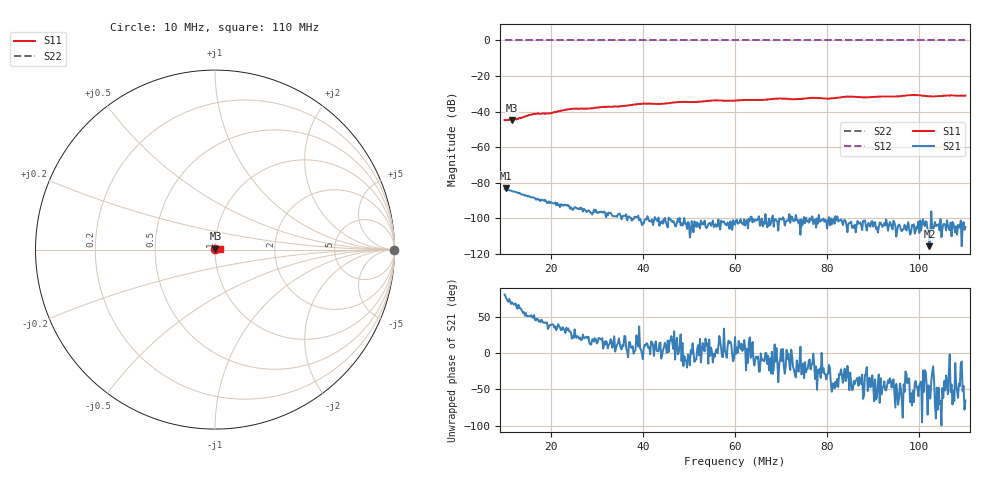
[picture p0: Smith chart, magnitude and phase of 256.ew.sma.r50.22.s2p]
! Anritsu VNA Master:  Model: MS2036C/10/77
! SN:  1601066
! /card0/usr/256.ew.sma.r50.22.s2p
! Existing Calibration Information:
! TYPE:  Current Settings,  Active Cal Settings
! TIME:  12/19/2017 02:48:21 PM,  12/19/2017 02:22:10 PM
! INTERNAL TEMP:  46.3 C,  45.0 C
! # POINTS:  501,  501
! START FREQ:  10.000 MHz,  10.000 MHz
! STOP FREQ:  110.000 MHz,  110.000 MHz
! SOURCE POWER:  High,  High
! IFBW:  100 Hz,  100 Hz
! AVG FACTOR:  1 ,  1
! REF PLANE 1:  0 mm,  0 mm
! REF PLANE 2:  0 mm,  0 mm
! CAL TYPE:  Full S11,  Full S11
! CAL METHOD:  SOLT,  SOLT
! CAL LINE TYPE:  Coax,  Coax
! DUT PORT 1:  N-Conn(F),  N-Conn(F)
! DUT PORT 2:  K-Conn(F),  K-Conn(F)
! CAL STATUS:  OK: Accuracy High,  --
# GHZ S DB R 50.0
! FREQ.GHZ  S11DB  S11A  S21DB  S21A  S12DB  S12A  S22DB  S22A
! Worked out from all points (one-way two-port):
!   501 points, 10 MHz to 110 MHz, reference 50 ohm
!   highest |S21| = -83.11 dB at 10.2 MHz (marker M1); lowest = -115.8 dB at 102.2 MHz (marker M2)
!   lowest |S11| = -44.9 dB at 11.6 MHz (marker M3), VSWR 1.01, Z = 50.3 + j0.512 ohm
!   |S11| at or under -10 dB: start of sweep to end of sweep
!   |S22| runs from 0.0 to 0.0 dB; largest |S21 - S12| = 1
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0.01  -44.83 64.8  -83.63 80.3  0.00 0.0  0.00 0.0
0.0102  -44.86 65.4  -83.11 77.5  0.00 0.0  0.00 0.0
0.0116  -44.87 63.1  -84.90 69.6  0.00 0.0  0.00 0.0
0.0164  -41.29 56.5  -88.42 52.1  0.00 0.0  0.00 0.0
0.0198  -41.08 54.4  -91.56 38.3  0.00 0.0  0.00 0.0
0.0238  -38.77 52.5  -92.72 33.6  0.00 0.0  0.00 0.0
0.0268  -38.34 54.8  -94.88 18.0  0.00 0.0  0.00 0.0
0.035  -37.06 48.4  -97.50 12.5  0.00 0.0  0.00 0.0
0.0398  -35.67 46.7  -103.98 -1.1  0.00 0.0  0.00 0.0
0.0434  -35.64 46.1  -99.63 2.2  0.00 0.0  0.00 0.0
0.0554  -33.78 39.5  -105.06 -1.4  0.00 0.0  0.00 0.0
0.06  -33.86 35.9  -103.71 21.9  0.00 0.0  0.00 0.0
0.0696  -32.67 30.0  -100.25 -15.1  0.00 0.0  0.00 0.0
0.0726  -33.15 29.1  -101.51 -19.4  0.00 0.0  0.00 0.0
0.0768  -32.24 24.7  -98.99 -14.5  0.00 0.0  0.00 0.0
0.0802  -32.70 22.1  -100.85 -28.3  0.00 0.0  0.00 0.0
0.0842  -31.61 17.8  -104.01 -33.6  0.00 0.0  0.00 0.0
0.088  -32.00 17.3  -101.67 -58.4  0.00 0.0  0.00 0.0
0.0934  -31.55 12.7  -104.40 -41.5  0.00 0.0  0.00 0.0
0.0988  -30.67 10.3  -103.49 -67.7  0.00 0.0  0.00 0.0
0.1022  -31.38 10.2  -115.77 -61.7  0.00 0.0  0.00 0.0
0.11  -31.05 1.5  -105.03 -65.4  0.00 0.0  0.00 0.0
